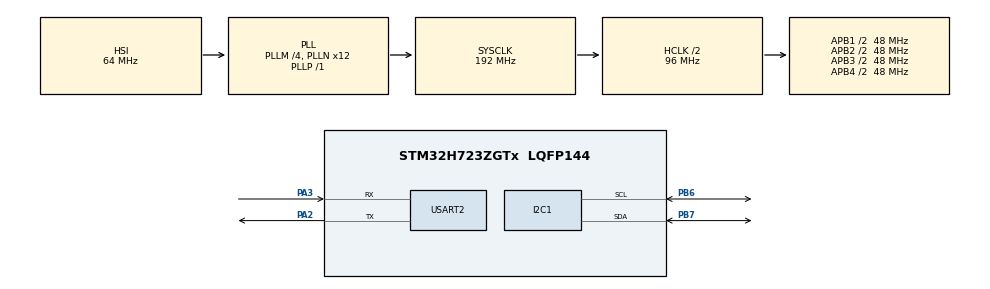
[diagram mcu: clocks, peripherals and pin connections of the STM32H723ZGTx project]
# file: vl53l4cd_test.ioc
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CORTEX_M7.default_mode_Activation=1
I2C1.Timing=0x20303E5D
Mcu.Family=STM32H7
Mcu.Name=STM32H723ZGTx
Mcu.Package=LQFP144
NUCLEO-H723ZG.BUTTON=1
NUCLEO-H723ZG.LD1=true
NUCLEO-H723ZG.LD2=true
NUCLEO-H723ZG.LD3=true
NUCLEO-H723ZG.VCP=true
NVIC.EXTI15_10_IRQn=true\:0\:0\:false\:false\:true\:false\:true\:true
NVIC.PriorityGroup=NVIC_PRIORITYGROUP_4
PA13(JTMS/SWDIO).GPIO_Label=SWDIO
PA13(JTMS/SWDIO).Signal=DEBUG_JTMS-SWDIO
PA14(JTCK/SWCLK).GPIO_Label=SWCLK
PA14(JTCK/SWCLK).Signal=DEBUG_JTCK-SWCLK
PA2.Mode=Asynchronous
PA2.Signal=USART2_TX
PA3.Mode=Asynchronous
PA3.Signal=USART2_RX
PB10.Signal=USART3_TX
PB11.Signal=USART3_RX
PB6.Mode=I2C
PB6.Signal=I2C1_SCL
PB7.Mode=I2C
PB7.Signal=I2C1_SDA
PC14-OSC32_IN.Signal=RCC_OSC32_IN
PC15-OSC32_OUT.Signal=RCC_OSC32_OUT
PD8.Signal=USART3_TX
PD9.Signal=USART3_RX
PH0-OSC_IN.Mode=HSE-External-Oscillator
PH0-OSC_IN.Signal=RCC_OSC_IN
PH1-OSC_OUT.Mode=HSE-External-Oscillator
PH1-OSC_OUT.Signal=RCC_OSC_OUT
ProjectManager.HeapSize=0x200
ProjectManager.StackSize=0x400
ProjectManager.TargetToolchain=STM32CubeIDE
RCC.ADCFreq_Value=608000000
RCC.APB1Freq_Value=48000000
RCC.APB2Freq_Value=48000000
RCC.APB3Freq_Value=48000000
RCC.APB4Freq_Value=48000000
RCC.CortexFreq_Value=192000000
RCC.D1PPRE=RCC_APB3_DIV2
RCC.D2PPRE1=RCC_APB1_DIV2
RCC.D2PPRE2=RCC_APB2_DIV2
RCC.D3PPRE=RCC_APB4_DIV2
RCC.DIVM1=4
RCC.DIVM2=1
RCC.DIVN1=12
RCC.DIVN2=19
RCC.DIVP1=1
RCC.DIVQ1=4
RCC.HCLKFreq_Value=96000000
RCC.HPRE=RCC_HCLK_DIV2
RCC.HSE_VALUE=8000000
RCC.PLLFRACN=0
RCC.SYSCLKFreq_VALUE=192000000
RCC.SYSCLKSource=RCC_SYSCLKSOURCE_PLLCLK
RCC.USBCLockSelection=RCC_USBCLKSOURCE_HSI48
RCC.USBFreq_Value=48000000
USART2.VirtualMode-Asynchronous=VM_ASYNC
VP_MEMORYMAP_VS_MEMORYMAP.Mode=CurAppReg
VP_NUCLEO-H723ZG_VS_BSP_COMMON.Mode=COMMON
board=NUCLEO-H723ZG

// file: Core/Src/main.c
/* USER CODE BEGIN Header */
/**
  ******************************************************************************
  * @file           : main.c
  * @brief          : Main program body
  ******************************************************************************
  * @attention
  *
  * Copyright (c) 2026 STMicroelectronics.
  * All rights reserved.
  *
  * This software is licensed under terms that can be found in the LICENSE file
  * in the root directory of this software component.
  * If no LICENSE file comes with this software, it is provided AS-IS.
  *
  ******************************************************************************
  */
/* USER CODE END Header */
#include "main.h"

/* USER CODE BEGIN Includes */
#include "VL53L4CD_api.h"
#include <string.h>
/* USER CODE END Includes */

COM_InitTypeDef BspCOMInit;

I2C_HandleTypeDef hi2c1;

UART_HandleTypeDef huart2;

/* USER CODE BEGIN PV */
Dev_t dev = 0x52 << 1;
VL53L4CD_ResultsData_t results;
uint8_t isReady;
uint8_t status;
uint8_t status2;
uint8_t status3;
/* USER CODE END PV */

void SystemClock_Config(void);
static void MPU_Config(void);
static void MX_GPIO_Init(void);
static void MX_I2C1_Init(void);
static void MX_USART2_UART_Init(void);

int main(void)
{

  MPU_Config();

  HAL_Init();

  SystemClock_Config();

  MX_GPIO_Init();
  MX_I2C1_Init();
  MX_USART2_UART_Init();

  /* USER CODE BEGIN 2 */
  HAL_Delay(100);
  HAL_I2C_DeInit(&hi2c1);
  HAL_I2C_Init(&hi2c1);
  HAL_Delay(100);
  status = VL53L4CD_SensorInit(dev);
  HAL_Delay(500);
  status2 = VL53L4CD_SetRangeTiming(dev, 200, 0);
  status3 = VL53L4CD_StartRanging(dev);
  HAL_Delay(500);
  /* USER CODE END 2 */

  BSP_LED_Init(LED_GREEN);
  BSP_LED_Init(LED_YELLOW);
  BSP_LED_Init(LED_RED);

  BSP_PB_Init(BUTTON_USER, BUTTON_MODE_EXTI);

  BspCOMInit.BaudRate   = 115200;
  BspCOMInit.WordLength = COM_WORDLENGTH_8B;
  BspCOMInit.StopBits   = COM_STOPBITS_1;
  BspCOMInit.Parity     = COM_PARITY_NONE;
  BspCOMInit.HwFlowCtl  = COM_HWCONTROL_NONE;
  if (BSP_COM_Init(COM1, &BspCOMInit) != BSP_ERROR_NONE)
  {
    Error_Handler();
  }

  while (1)
  {

  /* USER CODE BEGIN 3 */
  HAL_Delay(500);
  VL53L4CD_CheckForDataReady(dev, &isReady);
  if (isReady) {
      VL53L4CD_GetResult(dev, &results);
      VL53L4CD_ClearInterrupt(dev);
  }
  }
  /* USER CODE END 3 */
}

void SystemClock_Config(void)
{
  RCC_OscInitTypeDef RCC_OscInitStruct = {0};
  RCC_ClkInitTypeDef RCC_ClkInitStruct = {0};

  HAL_PWREx_ConfigSupply(PWR_LDO_SUPPLY);
  __HAL_PWR_VOLTAGESCALING_CONFIG(PWR_REGULATOR_VOLTAGE_SCALE2);

  while(!__HAL_PWR_GET_FLAG(PWR_FLAG_VOSRDY)) {}

  RCC_OscInitStruct.OscillatorType = RCC_OSCILLATORTYPE_HSI;
  RCC_OscInitStruct.HSIState = RCC_HSI_DIV1;
  RCC_OscInitStruct.HSICalibrationValue = 64;
  RCC_OscInitStruct.PLL.PLLState = RCC_PLL_ON;
  RCC_OscInitStruct.PLL.PLLSource = RCC_PLLSOURCE_HSI;
  RCC_OscInitStruct.PLL.PLLM = 4;
  RCC_OscInitStruct.PLL.PLLN = 12;
  RCC_OscInitStruct.PLL.PLLP = 1;
  RCC_OscInitStruct.PLL.PLLQ = 4;
  RCC_OscInitStruct.PLL.PLLR = 2;
  RCC_OscInitStruct.PLL.PLLRGE = RCC_PLL1VCIRANGE_3;
  RCC_OscInitStruct.PLL.PLLVCOSEL = RCC_PLL1VCOWIDE;
  RCC_OscInitStruct.PLL.PLLFRACN = 0;
  if (HAL_RCC_OscConfig(&RCC_OscInitStruct) != HAL_OK)
  {
    Error_Handler();
  }

  RCC_ClkInitStruct.ClockType = RCC_CLOCKTYPE_HCLK|RCC_CLOCKTYPE_SYSCLK
                              |RCC_CLOCKTYPE_PCLK1|RCC_CLOCKTYPE_PCLK2
                              |RCC_CLOCKTYPE_D3PCLK1|RCC_CLOCKTYPE_D1PCLK1;
  RCC_ClkInitStruct.SYSCLKSource = RCC_SYSCLKSOURCE_PLLCLK;
  RCC_ClkInitStruct.SYSCLKDivider = RCC_SYSCLK_DIV1;
  RCC_ClkInitStruct.AHBCLKDivider = RCC_HCLK_DIV2;
  RCC_ClkInitStruct.APB3CLKDivider = RCC_APB3_DIV2;
  RCC_ClkInitStruct.APB1CLKDivider = RCC_APB1_DIV2;
  RCC_ClkInitStruct.APB2CLKDivider = RCC_APB2_DIV2;
  RCC_ClkInitStruct.APB4CLKDivider = RCC_APB4_DIV2;

  if (HAL_RCC_ClockConfig(&RCC_ClkInitStruct, FLASH_LATENCY_1) != HAL_OK)
  {
    Error_Handler();
  }
}

static void MX_I2C1_Init(void)
{
  hi2c1.Instance = I2C1;
  hi2c1.Init.Timing = 0x20303E5D;
  hi2c1.Init.OwnAddress1 = 0;
  hi2c1.Init.AddressingMode = I2C_ADDRESSINGMODE_7BIT;
  hi2c1.Init.DualAddressMode = I2C_DUALADDRESS_DISABLE;
  hi2c1.Init.OwnAddress2 = 0;
  hi2c1.Init.OwnAddress2Masks = I2C_OA2_NOMASK;
  hi2c1.Init.GeneralCallMode = I2C_GENERALCALL_DISABLE;
  hi2c1.Init.NoStretchMode = I2C_NOSTRETCH_DISABLE;
  if (HAL_I2C_Init(&hi2c1) != HAL_OK)
  {
    Error_Handler();
  }
  if (HAL_I2CEx_ConfigAnalogFilter(&hi2c1, I2C_ANALOGFILTER_ENABLE) != HAL_OK)
  {
    Error_Handler();
  }
  if (HAL_I2CEx_ConfigDigitalFilter(&hi2c1, 0) != HAL_OK)
  {
    Error_Handler();
  }
}

static void MX_USART2_UART_Init(void)
{
  huart2.Instance = USART2;
  huart2.Init.BaudRate = 115200;
  huart2.Init.WordLength = UART_WORDLENGTH_8B;
  huart2.Init.StopBits = UART_STOPBITS_1;
  huart2.Init.Parity = UART_PARITY_NONE;
  huart2.Init.Mode = UART_MODE_TX_RX;
  huart2.Init.HwFlowCtl = UART_HWCONTROL_NONE;
  huart2.Init.OverSampling = UART_OVERSAMPLING_16;
  huart2.Init.OneBitSampling = UART_ONE_BIT_SAMPLE_DISABLE;
  huart2.Init.ClockPrescaler = UART_PRESCALER_DIV1;
  huart2.AdvancedInit.AdvFeatureInit = UART_ADVFEATURE_NO_INIT;
  if (HAL_UART_Init(&huart2) != HAL_OK)
  {
    Error_Handler();
  }
  if (HAL_UARTEx_SetTxFifoThreshold(&huart2, UART_TXFIFO_THRESHOLD_1_8) != HAL_OK)
  {
    Error_Handler();
  }
  if (HAL_UARTEx_SetRxFifoThreshold(&huart2, UART_RXFIFO_THRESHOLD_1_8) != HAL_OK)
  {
    Error_Handler();
  }
  if (HAL_UARTEx_DisableFifoMode(&huart2) != HAL_OK)
  {
    Error_Handler();
  }
}

static void MX_GPIO_Init(void)
{
  GPIO_InitTypeDef GPIO_InitStruct = {0};

  __HAL_RCC_GPIOC_CLK_ENABLE();
  __HAL_RCC_GPIOH_CLK_ENABLE();
  __HAL_RCC_GPIOA_CLK_ENABLE();
  __HAL_RCC_GPIOB_CLK_ENABLE();

  GPIO_InitStruct.Pin = GPIO_PIN_10|GPIO_PIN_11;
  GPIO_InitStruct.Mode = GPIO_MODE_AF_PP;
  GPIO_InitStruct.Pull = GPIO_NOPULL;
  GPIO_InitStruct.Speed = GPIO_SPEED_FREQ_LOW;
  GPIO_InitStruct.Alternate = GPIO_AF7_USART3;
  HAL_GPIO_Init(GPIOB, &GPIO_InitStruct);
}

void MPU_Config(void)
{
  MPU_Region_InitTypeDef MPU_InitStruct = {0};

  HAL_MPU_Disable();

  MPU_InitStruct.Enable = MPU_REGION_ENABLE;
  MPU_InitStruct.Number = MPU_REGION_NUMBER0;
  MPU_InitStruct.BaseAddress = 0x0;
  MPU_InitStruct.Size = MPU_REGION_SIZE_4GB;
  MPU_InitStruct.SubRegionDisable = 0x87;
  MPU_InitStruct.TypeExtField = MPU_TEX_LEVEL0;
  MPU_InitStruct.AccessPermission = MPU_REGION_NO_ACCESS;
  MPU_InitStruct.DisableExec = MPU_INSTRUCTION_ACCESS_DISABLE;
  MPU_InitStruct.IsShareable = MPU_ACCESS_SHAREABLE;
  MPU_InitStruct.IsCacheable = MPU_ACCESS_NOT_CACHEABLE;
  MPU_InitStruct.IsBufferable = MPU_ACCESS_NOT_BUFFERABLE;

  HAL_MPU_ConfigRegion(&MPU_InitStruct);
  HAL_MPU_Enable(MPU_PRIVILEGED_DEFAULT);
}

void Error_Handler(void)
{
  __disable_irq();
  while (1)
  {
  }
}
